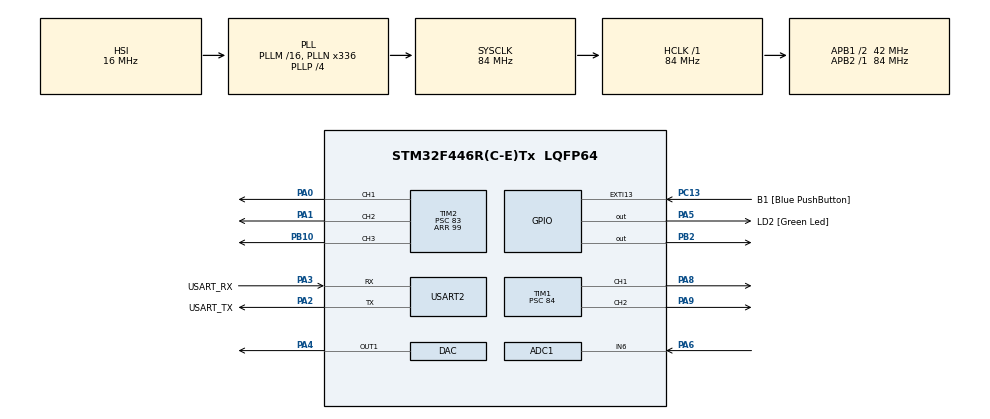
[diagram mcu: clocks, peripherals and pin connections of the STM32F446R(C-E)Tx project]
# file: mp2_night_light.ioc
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ADC1.Channel-0\#ChannelRegularConversion=ADC_CHANNEL_6
ADC1.ClockPrescaler=ADC_CLOCK_SYNC_PCLK_DIV8
ADC1.ContinuousConvMode=DISABLE
ADC1.DMAContinuousRequests=ENABLE
ADC1.ExternalTrigConv=ADC_EXTERNALTRIGCONV_T1_CC1
ADC1.NbrOfConversion=1
ADC1.NbrOfConversionFlag=1
ADC1.Rank-0\#ChannelRegularConversion=1
ADC1.SamplingTime-0\#ChannelRegularConversion=ADC_SAMPLETIME_56CYCLES
ADC1.master=1
DAC.DAC_OutputBuffer=DAC_OUTPUTBUFFER_DISABLE
Dma.ADC1.0.Direction=DMA_PERIPH_TO_MEMORY
Dma.ADC1.0.FIFOMode=DMA_FIFOMODE_DISABLE
Dma.ADC1.0.Instance=DMA2_Stream0
Dma.ADC1.0.MemDataAlignment=DMA_MDATAALIGN_HALFWORD
Dma.ADC1.0.MemInc=DMA_MINC_ENABLE
Dma.ADC1.0.Mode=DMA_CIRCULAR
Dma.ADC1.0.PeriphDataAlignment=DMA_PDATAALIGN_HALFWORD
Dma.ADC1.0.PeriphInc=DMA_PINC_DISABLE
Dma.ADC1.0.Priority=DMA_PRIORITY_LOW
Dma.Request0=ADC1
Mcu.Family=STM32F4
Mcu.Name=STM32F446R(C-E)Tx
Mcu.Package=LQFP64
NVIC.DMA2_Stream0_IRQn=true\:0\:0\:false\:false\:true\:false\:true\:true
NVIC.PriorityGroup=NVIC_PRIORITYGROUP_0
NVIC.TIM2_IRQn=true\:0\:0\:false\:false\:true\:true\:true\:true
PA0-WKUP.Signal=S_TIM2_CH1_ETR
PA1.Signal=S_TIM2_CH2
PA13.GPIO_Label=TMS
PA13.Mode=Serial_Wire
PA13.Signal=SYS_JTMS-SWDIO
PA14.GPIO_Label=TCK
PA14.Mode=Serial_Wire
PA14.Signal=SYS_JTCK-SWCLK
PA2.GPIO_Label=USART_TX
PA2.Mode=Asynchronous
PA2.Signal=USART2_TX
PA3.GPIO_Label=USART_RX
PA3.Mode=Asynchronous
PA3.Signal=USART2_RX
PA4.Signal=COMP_DAC1_group
PA5.GPIO_Label=LD2 [Green Led]
PA5.Signal=GPIO_Output
PA6.Signal=ADCx_IN6
PA8.Signal=S_TIM1_CH1
PA9.Signal=S_TIM1_CH2
PB10.Signal=S_TIM2_CH3
PB2.Signal=GPIO_Output
PB3.GPIO_Label=SWO
PB3.Signal=SYS_JTDO-SWO
PC13.GPIO_Label=B1 [Blue PushButton]
PC13.GPIO_ModeDefaultEXTI=GPIO_MODE_IT_FALLING
PC13.Signal=GPXTI13
PC14-OSC32_IN.Mode=LSE-External-Oscillator
PC14-OSC32_IN.Signal=RCC_OSC32_IN
PC15-OSC32_OUT.Mode=LSE-External-Oscillator
PC15-OSC32_OUT.Signal=RCC_OSC32_OUT
PH0-OSC_IN.Mode=HSE-External-Oscillator
PH0-OSC_IN.Signal=RCC_OSC_IN
PH1-OSC_OUT.Mode=HSE-External-Oscillator
PH1-OSC_OUT.Signal=RCC_OSC_OUT
ProjectManager.HeapSize=0x200
ProjectManager.StackSize=0x400
ProjectManager.TargetToolchain=STM32CubeIDE
RCC.48MHZClocksFreq_Value=84000000
RCC.AHBFreq_Value=84000000
RCC.APB1CLKDivider=RCC_HCLK_DIV2
RCC.APB1Freq_Value=42000000
RCC.APB1TimFreq_Value=84000000
RCC.APB2Freq_Value=84000000
RCC.APB2TimFreq_Value=84000000
RCC.CortexFreq_Value=84000000
RCC.FLatency-AdvancedSettings=FLASH_LATENCY_2
RCC.HCLKFreq_Value=84000000
RCC.HSE_VALUE=8000000
RCC.HSI_VALUE=16000000
RCC.PLLN=336
RCC.PLLP=RCC_PLLP_DIV4
RCC.SYSCLKFreq_VALUE=84000000
RCC.SYSCLKSource=RCC_SYSCLKSOURCE_PLLCLK
RCC.USBFreq_Value=168000000
RCC.VCOOutputFreq_Value=336000000
SH.ADCx_IN6.0=ADC1_IN6,IN6
SH.COMP_DAC1_group.0=DAC_OUT1,DAC_OUT1
SH.S_TIM1_CH1.0=TIM1_CH1,PWM Generation1 CH1
SH.S_TIM1_CH2.0=TIM1_CH2,PWM Generation2 CH2
SH.S_TIM2_CH1_ETR.0=TIM2_CH1,PWM Generation1 CH1
SH.S_TIM2_CH2.0=TIM2_CH2,PWM Generation2 CH2
SH.S_TIM2_CH3.0=TIM2_CH3,PWM Generation3 CH3
TIM1.Channel-PWM\ Generation1\ CH1=TIM_CHANNEL_1
TIM1.Channel-PWM\ Generation2\ CH2=TIM_CHANNEL_2
TIM1.OCMode_PWM-PWM\ Generation1\ CH1=TIM_OCMODE_PWM2
TIM1.Period=49999
TIM1.Prescaler=84
TIM1.Pulse-PWM\ Generation1\ CH1=250
TIM1.Pulse-PWM\ Generation2\ CH2=275
TIM2.Channel-PWM\ Generation1\ CH1=TIM_CHANNEL_1
TIM2.Channel-PWM\ Generation2\ CH2=TIM_CHANNEL_2
TIM2.Channel-PWM\ Generation3\ CH3=TIM_CHANNEL_3
TIM2.Period=99
TIM2.Prescaler=83
TIM2.Pulse-PWM\ Generation2\ CH2=0
TIM2.Pulse-PWM\ Generation3\ CH3=0
USART2.VirtualMode=VM_ASYNC
VP_TIM1_VS_ClockSourceINT.Mode=Internal
VP_TIM2_VS_ClockSourceINT.Mode=Internal
board=NUCLEO-F446RE

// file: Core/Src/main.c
/* USER CODE BEGIN Header */
/**
  ******************************************************************************
  * @file           : main.c
  * @brief          : Main program body
  ******************************************************************************
  * @attention
  *
  * Copyright (c) 2026 STMicroelectronics.
  * All rights reserved.
  *
  * This software is licensed under terms that can be found in the LICENSE file
  * in the root directory of this software component.
  * If no LICENSE file comes with this software, it is provided AS-IS.
  *
  ******************************************************************************
  */
/* USER CODE END Header */
#include "main.h"

/* USER CODE BEGIN Includes */
#include <math.h>
#include <stdio.h>
#include <stdlib.h>
/* USER CODE END Includes */

/* USER CODE BEGIN PD */
#define RUN_DAC_ADC_TEST
#define ADC_MAX    4095.0f
#define R_FIXED    1600.0f	// Fixed divider resistor
#define LDR_K      4.45e4f  // Photoresistor extracted parameter
#define LDR_GAMMA  0.632f  // Photoresistor extracted parameter
#define NUM_LEDS 3
#define HIGH_LUX_THRESHOLD 60.0f
#define LOW_LUX_THRESHOLD 3.0f
#define RAMP_RATE 0.01f
#ifdef RUN_DAC_ADC_TEST
	#define STATIC_LSB_TOLERANCE 20
	#define INVERSE_GAIN_ERROR 200
#endif
/* USER CODE END PD */

ADC_HandleTypeDef hadc1;
DMA_HandleTypeDef hdma_adc1;

DAC_HandleTypeDef hdac;

TIM_HandleTypeDef htim1;
TIM_HandleTypeDef htim2;

UART_HandleTypeDef huart2;

/* USER CODE BEGIN PV */
#define BUFFER_SIZE 16
uint16_t adc_buf[BUFFER_SIZE];
static float lux;
static const uint32_t LED_CH[NUM_LEDS] = {TIM_CHANNEL_1, TIM_CHANNEL_2, TIM_CHANNEL_3};
static float current_brightness[NUM_LEDS];
static uint32_t arr;
#ifdef RUN_DAC_ADC_TEST
  static uint32_t failures = 0;
#endif
/* USER CODE END PV */

void SystemClock_Config(void);
static void MX_GPIO_Init(void);
static void MX_DMA_Init(void);
static void MX_ADC1_Init(void);
static void MX_DAC_Init(void);
static void MX_USART2_UART_Init(void);
static void MX_TIM1_Init(void);
static void MX_TIM2_Init(void);
/* USER CODE BEGIN PFP */
static float Avg_ADC_Value(void);
static float ADC_To_LUX(float n);
static float Clamp_To_Range(float n, float min, float max);
static void Update_LEDs(float lux);
#ifdef RUN_DAC_ADC_TEST
	static void DAC_ADC_Test(void);
	int _write(int file, char *ptr, int len);
#endif
/* USER CODE END PFP */

int main(void)
{

  /* MCU Configuration--------------------------------------------------------*/

  /* Reset of all peripherals, Initializes the Flash interface and the Systick. */
  HAL_Init();

  /* Configure the system clock */
  SystemClock_Config();

  /* Initialize all configured peripherals */
  MX_GPIO_Init();
  MX_DMA_Init();
  MX_ADC1_Init();
  MX_DAC_Init();
  MX_USART2_UART_Init();
  MX_TIM1_Init();
  MX_TIM2_Init();
  /* USER CODE BEGIN 2 */
  #ifdef RUN_DAC_ADC_TEST
  	  DAC_ADC_Test();
  #endif

  HAL_TIM_Base_Start_IT(&htim2);

  for (int i=0; i<3; i++) {
	  HAL_TIM_PWM_Start(&htim2, LED_CH[i]);
  }
  arr = __HAL_TIM_GET_AUTORELOAD(&htim2);

  HAL_TIM_PWM_Start(&htim1, TIM_CHANNEL_1); // Controls ADC sampling
  HAL_TIM_PWM_Start(&htim1, TIM_CHANNEL_2); // Controls photoresistor divider

  HAL_ADC_Start_DMA(&hadc1, (uint32_t *)adc_buf, BUFFER_SIZE);
  /* USER CODE END 2 */

  /* Infinite loop */
  while (1)
  {

  }
}

void SystemClock_Config(void)
{
  RCC_OscInitTypeDef RCC_OscInitStruct = {0};
  RCC_ClkInitTypeDef RCC_ClkInitStruct = {0};

  /** Configure the main internal regulator output voltage
  */
  __HAL_RCC_PWR_CLK_ENABLE();
  __HAL_PWR_VOLTAGESCALING_CONFIG(PWR_REGULATOR_VOLTAGE_SCALE3);

  /** Initializes the RCC Oscillators according to the specified parameters
  * in the RCC_OscInitTypeDef structure.
  */
  RCC_OscInitStruct.OscillatorType = RCC_OSCILLATORTYPE_HSI;
  RCC_OscInitStruct.HSIState = RCC_HSI_ON;
  RCC_OscInitStruct.HSICalibrationValue = RCC_HSICALIBRATION_DEFAULT;
  RCC_OscInitStruct.PLL.PLLState = RCC_PLL_ON;
  RCC_OscInitStruct.PLL.PLLSource = RCC_PLLSOURCE_HSI;
  RCC_OscInitStruct.PLL.PLLM = 16;
  RCC_OscInitStruct.PLL.PLLN = 336;
  RCC_OscInitStruct.PLL.PLLP = RCC_PLLP_DIV4;
  RCC_OscInitStruct.PLL.PLLQ = 2;
  RCC_OscInitStruct.PLL.PLLR = 2;
  if (HAL_RCC_OscConfig(&RCC_OscInitStruct) != HAL_OK)
  {
    Error_Handler();
  }

  /** Initializes the CPU, AHB and APB buses clocks
  */
  RCC_ClkInitStruct.ClockType = RCC_CLOCKTYPE_HCLK|RCC_CLOCKTYPE_SYSCLK
                              |RCC_CLOCKTYPE_PCLK1|RCC_CLOCKTYPE_PCLK2;
  RCC_ClkInitStruct.SYSCLKSource = RCC_SYSCLKSOURCE_PLLCLK;
  RCC_ClkInitStruct.AHBCLKDivider = RCC_SYSCLK_DIV1;
  RCC_ClkInitStruct.APB1CLKDivider = RCC_HCLK_DIV2;
  RCC_ClkInitStruct.APB2CLKDivider = RCC_HCLK_DIV1;

  if (HAL_RCC_ClockConfig(&RCC_ClkInitStruct, FLASH_LATENCY_2) != HAL_OK)
  {
    Error_Handler();
  }
}

static void MX_ADC1_Init(void)
{

  ADC_ChannelConfTypeDef sConfig = {0};

  /** Configure the global features of the ADC (Clock, Resolution, Data Alignment and number of conversion)
  */
  hadc1.Instance = ADC1;
  hadc1.Init.ClockPrescaler = ADC_CLOCK_SYNC_PCLK_DIV8;
  hadc1.Init.Resolution = ADC_RESOLUTION_12B;
  hadc1.Init.ScanConvMode = DISABLE;
  hadc1.Init.ContinuousConvMode = DISABLE;
  hadc1.Init.DiscontinuousConvMode = DISABLE;
  hadc1.Init.ExternalTrigConvEdge = ADC_EXTERNALTRIGCONVEDGE_RISING;
  hadc1.Init.ExternalTrigConv = ADC_EXTERNALTRIGCONV_T1_CC1;
  hadc1.Init.DataAlign = ADC_DATAALIGN_RIGHT;
  hadc1.Init.NbrOfConversion = 1;
  hadc1.Init.DMAContinuousRequests = ENABLE;
  hadc1.Init.EOCSelection = ADC_EOC_SINGLE_CONV;
  if (HAL_ADC_Init(&hadc1) != HAL_OK)
  {
    Error_Handler();
  }

  /** Configure for the selected ADC regular channel its corresponding rank in the sequencer and its sample time.
  */
  sConfig.Channel = ADC_CHANNEL_6;
  sConfig.Rank = 1;
  sConfig.SamplingTime = ADC_SAMPLETIME_56CYCLES;
  if (HAL_ADC_ConfigChannel(&hadc1, &sConfig) != HAL_OK)
  {
    Error_Handler();
  }

}

static void MX_DAC_Init(void)
{

  DAC_ChannelConfTypeDef sConfig = {0};

  /** DAC Initialization
  */
  hdac.Instance = DAC;
  if (HAL_DAC_Init(&hdac) != HAL_OK)
  {
    Error_Handler();
  }

  /** DAC channel OUT1 config
  */
  sConfig.DAC_Trigger = DAC_TRIGGER_NONE;
  sConfig.DAC_OutputBuffer = DAC_OUTPUTBUFFER_DISABLE;
  if (HAL_DAC_ConfigChannel(&hdac, &sConfig, DAC_CHANNEL_1) != HAL_OK)
  {
    Error_Handler();
  }

}

static void MX_TIM1_Init(void)
{

  TIM_ClockConfigTypeDef sClockSourceConfig = {0};
  TIM_MasterConfigTypeDef sMasterConfig = {0};
  TIM_OC_InitTypeDef sConfigOC = {0};
  TIM_BreakDeadTimeConfigTypeDef sBreakDeadTimeConfig = {0};

  htim1.Instance = TIM1;
  htim1.Init.Prescaler = 83;
  htim1.Init.CounterMode = TIM_COUNTERMODE_UP;
  htim1.Init.Period = 49999;
  htim1.Init.ClockDivision = TIM_CLOCKDIVISION_DIV1;
  htim1.Init.RepetitionCounter = 0;
  htim1.Init.AutoReloadPreload = TIM_AUTORELOAD_PRELOAD_DISABLE;
  if (HAL_TIM_Base_Init(&htim1) != HAL_OK)
  {
    Error_Handler();
  }
  sClockSourceConfig.ClockSource = TIM_CLOCKSOURCE_INTERNAL;
  if (HAL_TIM_ConfigClockSource(&htim1, &sClockSourceConfig) != HAL_OK)
  {
    Error_Handler();
  }
  if (HAL_TIM_PWM_Init(&htim1) != HAL_OK)
  {
    Error_Handler();
  }
  sMasterConfig.MasterOutputTrigger = TIM_TRGO_RESET;
  sMasterConfig.MasterSlaveMode = TIM_MASTERSLAVEMODE_DISABLE;
  if (HAL_TIMEx_MasterConfigSynchronization(&htim1, &sMasterConfig) != HAL_OK)
  {
    Error_Handler();
  }
  sConfigOC.OCMode = TIM_OCMODE_PWM2;
  sConfigOC.Pulse = 250;
  sConfigOC.OCPolarity = TIM_OCPOLARITY_HIGH;
  sConfigOC.OCNPolarity = TIM_OCNPOLARITY_HIGH;
  sConfigOC.OCFastMode = TIM_OCFAST_DISABLE;
  sConfigOC.OCIdleState = TIM_OCIDLESTATE_RESET;
  sConfigOC.OCNIdleState = TIM_OCNIDLESTATE_RESET;
  if (HAL_TIM_PWM_ConfigChannel(&htim1, &sConfigOC, TIM_CHANNEL_1) != HAL_OK)
  {
    Error_Handler();
  }
  sConfigOC.OCMode = TIM_OCMODE_PWM1;
  sConfigOC.Pulse = 275;
  if (HAL_TIM_PWM_ConfigChannel(&htim1, &sConfigOC, TIM_CHANNEL_2) != HAL_OK)
  {
    Error_Handler();
  }
  sBreakDeadTimeConfig.OffStateRunMode = TIM_OSSR_DISABLE;
  sBreakDeadTimeConfig.OffStateIDLEMode = TIM_OSSI_DISABLE;
  sBreakDeadTimeConfig.LockLevel = TIM_LOCKLEVEL_OFF;
  sBreakDeadTimeConfig.DeadTime = 0;
  sBreakDeadTimeConfig.BreakState = TIM_BREAK_DISABLE;
  sBreakDeadTimeConfig.BreakPolarity = TIM_BREAKPOLARITY_HIGH;
  sBreakDeadTimeConfig.AutomaticOutput = TIM_AUTOMATICOUTPUT_DISABLE;
  if (HAL_TIMEx_ConfigBreakDeadTime(&htim1, &sBreakDeadTimeConfig) != HAL_OK)
  {
    Error_Handler();
  }
  HAL_TIM_MspPostInit(&htim1);

}

static void MX_TIM2_Init(void)
{

  TIM_ClockConfigTypeDef sClockSourceConfig = {0};
  TIM_MasterConfigTypeDef sMasterConfig = {0};
  TIM_OC_InitTypeDef sConfigOC = {0};

  htim2.Instance = TIM2;
  htim2.Init.Prescaler = 83;
  htim2.Init.CounterMode = TIM_COUNTERMODE_UP;
  htim2.Init.Period = 99;
  htim2.Init.ClockDivision = TIM_CLOCKDIVISION_DIV1;
  htim2.Init.AutoReloadPreload = TIM_AUTORELOAD_PRELOAD_DISABLE;
  if (HAL_TIM_Base_Init(&htim2) != HAL_OK)
  {
    Error_Handler();
  }
  sClockSourceConfig.ClockSource = TIM_CLOCKSOURCE_INTERNAL;
  if (HAL_TIM_ConfigClockSource(&htim2, &sClockSourceConfig) != HAL_OK)
  {
    Error_Handler();
  }
  if (HAL_TIM_PWM_Init(&htim2) != HAL_OK)
  {
    Error_Handler();
  }
  sMasterConfig.MasterOutputTrigger = TIM_TRGO_RESET;
  sMasterConfig.MasterSlaveMode = TIM_MASTERSLAVEMODE_DISABLE;
  if (HAL_TIMEx_MasterConfigSynchronization(&htim2, &sMasterConfig) != HAL_OK)
  {
    Error_Handler();
  }
  sConfigOC.OCMode = TIM_OCMODE_PWM1;
  sConfigOC.Pulse = 0;
  sConfigOC.OCPolarity = TIM_OCPOLARITY_HIGH;
  sConfigOC.OCFastMode = TIM_OCFAST_DISABLE;
  if (HAL_TIM_PWM_ConfigChannel(&htim2, &sConfigOC, TIM_CHANNEL_1) != HAL_OK)
  {
    Error_Handler();
  }
  if (HAL_TIM_PWM_ConfigChannel(&htim2, &sConfigOC, TIM_CHANNEL_2) != HAL_OK)
  {
    Error_Handler();
  }
  if (HAL_TIM_PWM_ConfigChannel(&htim2, &sConfigOC, TIM_CHANNEL_3) != HAL_OK)
  {
    Error_Handler();
  }
  HAL_TIM_MspPostInit(&htim2);

}

static void MX_USART2_UART_Init(void)
{

  huart2.Instance = USART2;
  huart2.Init.BaudRate = 115200;
  huart2.Init.WordLength = UART_WORDLENGTH_8B;
  huart2.Init.StopBits = UART_STOPBITS_1;
  huart2.Init.Parity = UART_PARITY_NONE;
  huart2.Init.Mode = UART_MODE_TX_RX;
  huart2.Init.HwFlowCtl = UART_HWCONTROL_NONE;
  huart2.Init.OverSampling = UART_OVERSAMPLING_16;
  if (HAL_UART_Init(&huart2) != HAL_OK)
  {
    Error_Handler();
  }

}

static void MX_DMA_Init(void)
{

  /* DMA controller clock enable */
  __HAL_RCC_DMA2_CLK_ENABLE();

  /* DMA interrupt init */
  /* DMA2_Stream0_IRQn interrupt configuration */
  HAL_NVIC_SetPriority(DMA2_Stream0_IRQn, 0, 0);
  HAL_NVIC_EnableIRQ(DMA2_Stream0_IRQn);

}

static void MX_GPIO_Init(void)
{
  GPIO_InitTypeDef GPIO_InitStruct = {0};

  /* GPIO Ports Clock Enable */
  __HAL_RCC_GPIOC_CLK_ENABLE();
  __HAL_RCC_GPIOH_CLK_ENABLE();
  __HAL_RCC_GPIOA_CLK_ENABLE();
  __HAL_RCC_GPIOB_CLK_ENABLE();

  /*Configure GPIO pin Output Level */
  HAL_GPIO_WritePin(LD2_GPIO_Port, LD2_Pin, GPIO_PIN_RESET);

  /*Configure GPIO pin Output Level */
  HAL_GPIO_WritePin(GPIOB, GPIO_PIN_2, GPIO_PIN_RESET);

  /*Configure GPIO pin : B1_Pin */
  GPIO_InitStruct.Pin = B1_Pin;
  GPIO_InitStruct.Mode = GPIO_MODE_IT_FALLING;
  GPIO_InitStruct.Pull = GPIO_NOPULL;
  HAL_GPIO_Init(B1_GPIO_Port, &GPIO_InitStruct);

  /*Configure GPIO pin : LD2_Pin */
  GPIO_InitStruct.Pin = LD2_Pin;
  GPIO_InitStruct.Mode = GPIO_MODE_OUTPUT_PP;
  GPIO_InitStruct.Pull = GPIO_NOPULL;
  GPIO_InitStruct.Speed = GPIO_SPEED_FREQ_LOW;
  HAL_GPIO_Init(LD2_GPIO_Port, &GPIO_InitStruct);

  /*Configure GPIO pin : PB2 */
  GPIO_InitStruct.Pin = GPIO_PIN_2;
  GPIO_InitStruct.Mode = GPIO_MODE_OUTPUT_PP;
  GPIO_InitStruct.Pull = GPIO_NOPULL;
  GPIO_InitStruct.Speed = GPIO_SPEED_FREQ_LOW;
  HAL_GPIO_Init(GPIOB, &GPIO_InitStruct);

}

/* USER CODE BEGIN 4 */
void HAL_TIM_PeriodElapsedCallback(TIM_HandleTypeDef* htim)
{
	lux = ADC_To_LUX(Avg_ADC_Value());
	Update_LEDs(lux);
}

static float Avg_ADC_Value(void) {
    uint32_t sum = 0;
    for (int i = 0; i < BUFFER_SIZE; i++) {
    	sum += adc_buf[i];
    }

    return sum / (float)BUFFER_SIZE;
}

static void Update_LEDs(float lux) {
	// Based on the lux thresholds, linearly interpolate the log of the current lux to get a 'darkness' value
	float darkness = (logf(HIGH_LUX_THRESHOLD / lux) / logf(HIGH_LUX_THRESHOLD / LOW_LUX_THRESHOLD));
	darkness = Clamp_To_Range(darkness, 0.0f, 1.0f) * NUM_LEDS;
	for (int i=0; i<NUM_LEDS; i++) {
		float target_brightness = Clamp_To_Range((darkness - i), 0.0f, 1.0f);
		float diff = Clamp_To_Range(target_brightness - current_brightness[i], -RAMP_RATE, RAMP_RATE);
		current_brightness[i] += diff;
		__HAL_TIM_SET_COMPARE(&htim2, LED_CH[i], (uint32_t)(current_brightness[i]*current_brightness[i]*(arr+1)));
	}
}

static float ADC_To_LUX(float n) {
    if (n < 1.0f) {
    	n = 1.0f;
    }

    if (n > 4094.0f) {
    	n = 4094.0f;
    }

    float r_ldr = R_FIXED * ((ADC_MAX / n) - 1.0f);

    if (r_ldr < 1.0f) {
    	r_ldr = 1.0f;
    }

    float lux = powf(LDR_K / r_ldr, 1.0f / LDR_GAMMA);
    // This was the characterized range so I don't trust the value outside
    lux = Clamp_To_Range(lux, 1e-3f, 1120.0f);
    return lux;
}

static float Clamp_To_Range(float n, float min, float max) {
	return (fminf(fmaxf(n, min), max));
}

#ifdef RUN_DAC_ADC_TEST
static void DAC_ADC_Test(void) {
	// TBH I used chat to find out about this API
	// But the idea is that I want to just use software polling for the test
	// because it makes it less error-prone and AFAIK is okay given the requirements
	hadc1.Init.ExternalTrigConvEdge = ADC_EXTERNALTRIGCONVEDGE_NONE;
	hadc1.Init.ExternalTrigConv = ADC_SOFTWARE_START;
	HAL_ADC_Init(&hadc1);

	ADC_ChannelConfTypeDef sConfig = {0};
	sConfig.Channel = ADC_CHANNEL_4; // This is the sauce that makes hooks it up to the DAC
	sConfig.Rank = 1;
	HAL_ADC_ConfigChannel(&hadc1, &sConfig);

	HAL_DAC_Start(&hdac, DAC_CHANNEL_1);

	for (int32_t dac_code=0; dac_code<4096; dac_code++) {
		HAL_DAC_SetValue(&hdac, DAC_CHANNEL_1, DAC_ALIGN_12B_R, dac_code);
		HAL_Delay(2);
		uint32_t sum = 0;
		for (int i=0; i<16; i++) {
			HAL_ADC_Start(&hadc1);
			HAL_ADC_PollForConversion(&hadc1, 5);
			sum += HAL_ADC_GetValue(&hadc1);
		}
		int32_t AVG_ADC_Value = sum/16;
		int32_t LSB_Tolerance = STATIC_LSB_TOLERANCE + (dac_code/INVERSE_GAIN_ERROR);

		if (abs(dac_code - AVG_ADC_Value) > LSB_Tolerance) {
			failures++;
			HAL_GPIO_WritePin(GPIOA, GPIO_PIN_5, GPIO_PIN_SET);
			printf("FAIL dac_code=%lu AVG_ADC_Value=%ld\r\n", (unsigned long)dac_code, (long)AVG_ADC_Value);
		}
	}

	HAL_DAC_Stop(&hdac, DAC_CHANNEL_1);
	MX_ADC1_Init(); // Put everything back to how it was
}

int _write(int file, char *ptr, int len)
{
    while (HAL_UART_Transmit(&huart2, (uint8_t *)ptr, len, HAL_MAX_DELAY) == HAL_BUSY) { }
    return len;
}

#endif
/* USER CODE END 4 */

void Error_Handler(void)
{
  __disable_irq();
  while (1)
  {
  }
}
